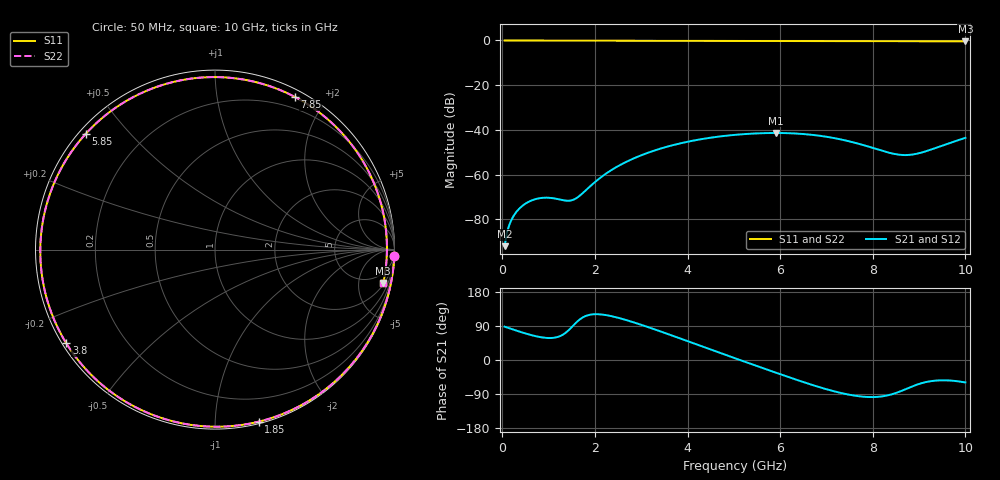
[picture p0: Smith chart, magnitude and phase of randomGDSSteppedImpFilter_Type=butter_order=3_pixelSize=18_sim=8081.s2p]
! freq	dB(S11)	phase(S11)	dB(S12)	phase(S12)
!  dB(S21)	phase(S21)	dB(S22)	phase(S22)
!S-par simulation data
#  GHz  S  DB  R 50
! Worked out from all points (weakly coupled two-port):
!   200 points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, 50 MHz to 10 GHz, reference 50 ohm
!   highest |S21| = -41.38 dB at 5.9 GHz (marker M1); lowest = -92.0 dB at 50 MHz (marker M2)
!   lowest |S11| = -0.4 dB at 10 GHz (marker M3), VSWR 44.32, Z = 112 - j484 ohm
!   |S11| at or under -10 dB: nowhere
!   |S22| runs from -0.4 to 0.0 dB; largest |S21 - S12| = 0
!   S11 on the Smith chart (normalised r, x): 50 MHz: 0, -54; 1.85 GHz: 0.01, -1.29; 3.8 GHz: 0.01, -0.29; 5.85 GHz: 0.02, +0.38; 7.85 GHz: 0.08, +1.65; 10 GHz: 2.25, -9.68
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0.05  -0.00 -2.1  -92.02 87.9  -92.02 87.9  -0.00 -2.1
0.2  -0.01 -8.5  -80.12 81.7  -80.12 81.7  -0.01 -8.5
0.4  -0.03 -16.9  -74.57 73.8  -74.57 73.8  -0.03 -16.9
0.7  -0.04 -29.4  -71.08 63.5  -71.08 63.5  -0.04 -29.4
1  -0.05 -41.7  -70.36 58.0  -70.36 58.0  -0.05 -41.7
1.45  -0.07 -59.9  -71.68 80.7  -71.68 80.7  -0.07 -59.9
1.75  -0.09 -71.8  -68.04 113.2  -68.04 113.2  -0.09 -71.8
1.85  -0.10 -75.7  -66.13 118.2  -66.13 118.2  -0.10 -75.7
2.5  -0.13 -100.5  -56.22 111.4  -56.22 111.4  -0.13 -100.5
3.4  -0.16 -133.5  -48.48 76.1  -48.48 76.1  -0.16 -133.5
3.8  -0.18 -147.8  -46.24 58.7  -46.24 58.7  -0.18 -147.8
4.45  -0.22 -171.0  -43.65 29.9  -43.65 29.9  -0.22 -171.0
5.05  -0.25 167.5  -42.18 3.5  -42.18 3.5  -0.25 167.5
5.85  -0.29 138.2  -41.39 -31.0  -41.39 -31.0  -0.29 138.2
5.9  -0.29 136.4  -41.38 -33.1  -41.38 -33.1  -0.29 136.4
6.7  -0.33 106.2  -42.24 -66.1  -42.24 -66.1  -0.33 106.2
7.25  -0.35 85.3  -44.01 -85.2  -44.01 -85.2  -0.35 85.2
7.85  -0.35 62.5  -47.13 -97.3  -47.13 -97.3  -0.35 62.5
8.35  -0.35 44.0  -50.21 -92.5  -50.21 -92.5  -0.35 44.0
8.9  -0.36 24.4  -50.88 -67.4  -50.88 -67.4  -0.36 24.4
9.45  -0.37 5.9  -47.41 -53.7  -47.41 -53.7  -0.37 5.9
10  -0.39 -11.2  -43.58 -59.2  -43.58 -59.2  -0.39 -11.2
